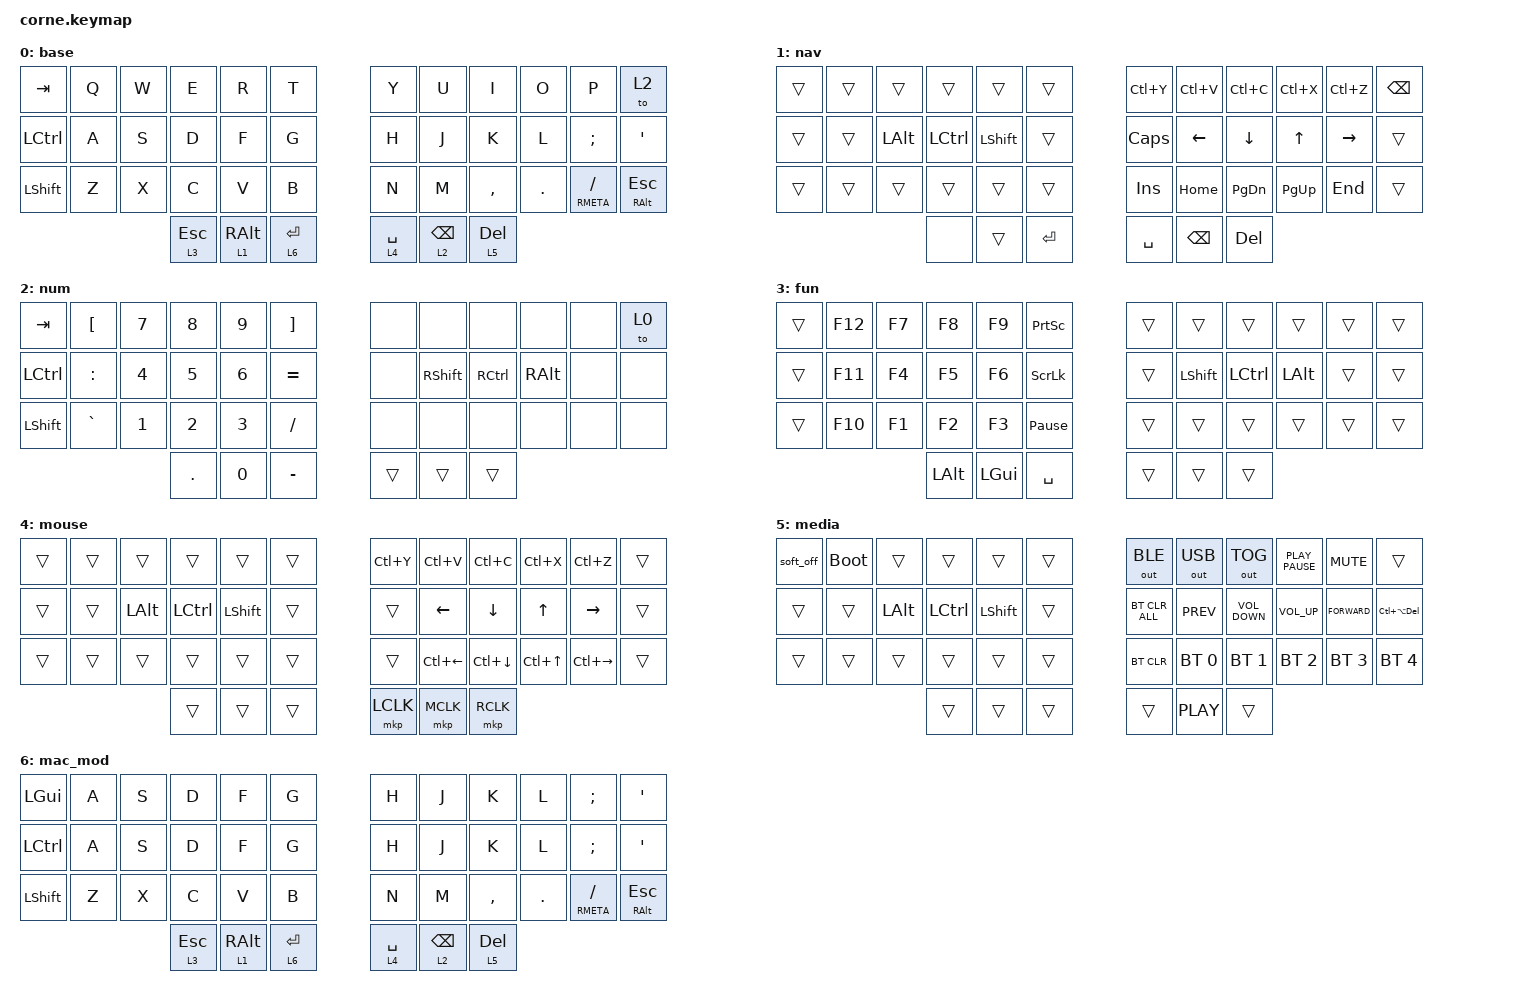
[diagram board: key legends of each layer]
/ {
    behaviors {
        hml: homewrow_mods_left {
            compatible = "zmk,behavior-hold-tap";
            label = "HOMEROW_MODS_LEFT_HAND";
            bindings = <&kp &kp>; // assign per layer below
            #binding-cells = <2>;
            tapping-term-ms = <200>;
            hold-trigger-key-positions = <6 8 7 19 18 30 31 32 20 9 21 33 34 22 10 11 23 35 41 40 39>;
        };

        hmr: homewrow_mods_right {
            compatible = "zmk,behavior-hold-tap";
            label = "HOMEROW_MODS_RIGHT_HAND";
            bindings = <&kp &kp>; 
            #binding-cells = <2>;
            tapping-term-ms = <200>;
            hold-trigger-key-positions = <0 1 2 3 4 5 12 13 14 15 16 17 24 25 26 27 28 29 36 37 38>;
        };
    };

    keymap {
        compatible = "zmk,keymap";

        /****************************************
         * 1️⃣ BASE LAYER — Typing Only
         ****************************************/
        base {
            bindings = <
&kp TAB &kp Q &kp W &kp E &kp R &kp T &kp Y &kp U &kp I &kp O &kp P &to 2
&kp LCTRL &kp A &kp S &kp D &kp F &kp G &kp H &kp J &kp K &kp L &kp SEMICOLON &kp SQT
&kp LSHIFT &kp Z &kp X &kp C &kp V &kp B &kp N &kp M &kp COMMA &kp PERIOD &hmr RMETA FSLH &hmr RALT ESCAPE
        &lt 3 ESCAPE &lt 1 RALT &lt 6 ENTER &lt 4 SPACE &lt 2 BACKSPACE &lt 5 DEL
            >;
        };

        /****************************************
         * 2️⃣ NAV LAYER — Movement / Selection
         ****************************************/
        nav {
            bindings = <
&trans &trans &trans &trans &trans &trans &kp LC(Y) &kp LC(V) &kp LC(C) &kp LC(X) &kp LC(Z) &kp BSPC
&trans &trans &kp LEFT_ALT &kp LCTRL &kp LSHIFT &trans &kp CAPS &kp LEFT_ARROW &kp DOWN &kp UP_ARROW &kp RIGHT &trans
&trans &trans &trans &trans &trans &trans &kp INSERT &kp HOME &kp PAGE_DOWN &kp PAGE_UP &kp END &trans
        &none &trans &kp ENTER &kp SPACE &kp BACKSPACE &kp DEL
            >;
        };

        /****************************************
         * 3️⃣ NUM LAYER — Numbers / Symbols
         ****************************************/
        num {
            bindings = <
&kp TAB &kp LEFT_BRACKET &kp N7 &kp N8 &kp N9 &kp RIGHT_BRACKET &none &none &none &none &none &to 0
&kp LCTRL &kp COLON &kp NUMBER_4 &kp N5 &kp NUMBER_6 &kp EQUAL &none &kp RIGHT_SHIFT &kp RCTRL &kp RIGHT_ALT &none &none
&kp LSHIFT &kp GRAVE &kp NUMBER_1 &kp NUMBER_2 &kp NUMBER_3 &kp SLASH &none &none &none &none &none &none
        &kp PERIOD &kp N0 &kp MINUS &trans &trans &trans
            >;
        };

        /****************************************
         * 4️⃣ FUN LAYER — F-keys
         ****************************************/
        fun {
            bindings = <
&trans &kp F12 &kp F7 &kp F8 &kp F9 &kp PRINTSCREEN &trans &trans &trans &trans &trans &trans
&trans &kp F11 &kp F4 &kp F5 &kp F6 &kp SCROLLLOCK &trans &kp LSHIFT &kp LCTRL &kp LALT &trans &trans
&trans &kp F10 &kp F1 &kp F2 &kp F3 &kp PAUSE_BREAK &trans &trans &trans &trans &trans &trans
        &kp LALT &kp LGUI &kp SPACE &trans &trans &trans
            >;
        };

        /****************************************
         * 5️⃣ MOUSE LAYER — Cursor / Click
         ****************************************/
        mouse {
            bindings = <
&trans &trans &trans &trans &trans &trans &kp LC(Y) &kp LC(V) &kp LC(C) &kp LC(X) &kp LC(Z) &trans
&trans &trans &kp LALT &kp LCTRL &kp LSHIFT &trans &trans &kp LEFT &kp DOWN &kp UP &kp RIGHT &trans
&trans &trans &trans &trans &trans &trans &trans &kp LC(LEFT) &kp LC(DOWN) &kp LC(UP) &kp LC(RIGHT) &trans
        &trans &trans &trans &mkp LCLK &mkp MCLK &mkp RCLK
            >;
        };

        /****************************************
         * 6️⃣ MEDIA / BT LAYER — Device / Media Control
         ****************************************/
        media {
            bindings = <
&soft_off &bootloader &trans &trans &trans &trans &out OUT_BLE &out OUT_USB &out OUT_TOG &kp K_PLAY_PAUSE &kp K_MUTE &trans
&trans &trans &kp LEFT_ALT &kp LCTRL &kp LEFT_SHIFT &trans &bt BT_CLR_ALL &kp K_PREV &kp C_VOLUME_DOWN &kp C_VOLUME_UP &kp K_FORWARD &kp LC(LA(DEL))
&trans &trans &trans &trans &trans &trans &bt BT_CLR &bt BT_SEL 0 &bt BT_SEL 1 &bt BT_SEL 2 &bt BT_SEL 3 &bt BT_SEL 4
        &trans &trans &trans &trans &kp C_PLAY &trans
            >;
        };

        /****************************************
         * 7️⃣ macOS Modifier Layer — Ctrl/Command Swap
         ****************************************/
        mac_mod {
            bindings = <
&kp LGUI   &kp A &kp S &kp D &kp F &kp G &kp H &kp J &kp K &kp L &kp SEMICOLON &kp SQT
&kp LCTRL  &kp A &kp S &kp D &kp F &kp G &kp H &kp J &kp K &kp L &kp SEMICOLON &kp SQT
&kp LSHIFT &kp Z &kp X &kp C &kp V &kp B &kp N &kp M &kp COMMA &kp PERIOD &hmr RMETA FSLH &hmr RALT ESCAPE
        &lt 3 ESCAPE &lt 1 RALT &lt 6 ENTER &lt 4 SPACE &lt 2 BACKSPACE &lt 5 DEL
            >;
        };
    };
};
